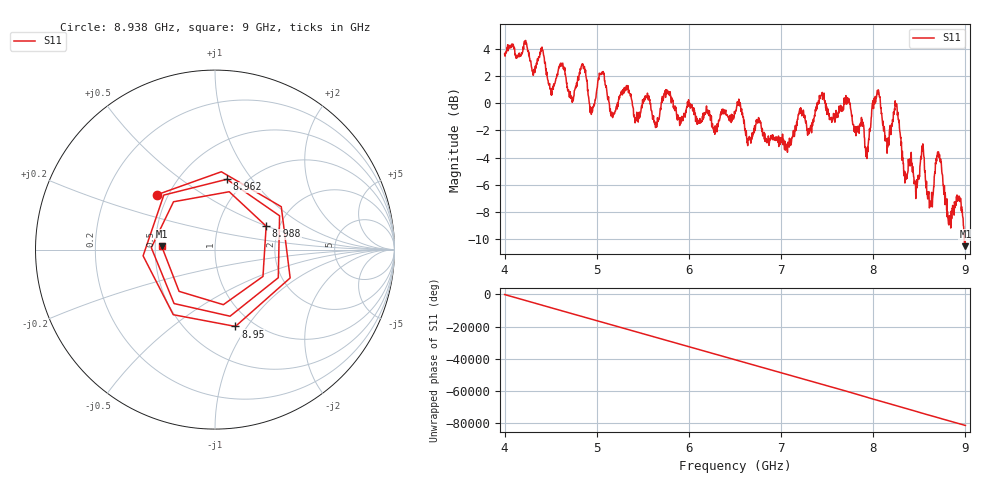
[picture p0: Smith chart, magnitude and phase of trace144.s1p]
! Created with skrf 1.8.0 (http://scikit-rf.org).
# Hz S RI R 50.0
!freq ReS11 ImS11
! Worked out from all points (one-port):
!   1601 points, 4 GHz to 9 GHz, reference 50 ohm
!   lowest |S11| = -10.5 dB at 9 GHz (marker M1), VSWR 1.85, Z = 27 + j1.17 ohm
!   |S11| at or under -10 dB: 8.98742 GHz to end of sweep
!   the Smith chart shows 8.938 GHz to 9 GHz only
!   S11 on the Smith chart (normalised r, x): 8.938 GHz: 0.44, +0.33; 8.95 GHz: 0.83, -0.88; 8.962 GHz: 0.82, +0.76; 8.988 GHz: 1.71, +0.50; 9 GHz: 0.54, +0.02
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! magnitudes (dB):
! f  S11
! 4 GHz  3.6
! 4.506 GHz  0.6
! 4.625 GHz  2.9
! 4.728 GHz  0.4
! 4.856 GHz  2.5
! 4.944 GHz  -0.7
! 5.053 GHz  2.3
! 5.166 GHz  -0.7
! 5.25 GHz  0.6
! 5.875 GHz  -1.2
! 6.5 GHz  -0.8
! 7.125 GHz  -2.4
! 7.441 GHz  0.6
! 7.75 GHz  0.0
! 7.928 GHz  -3.7
! 8.034 GHz  0.4
! 8.147 GHz  -2.7
! 8.244 GHz  -0.2
! 8.375 GHz  -5.1
! 8.538 GHz  -3.0
! 8.625 GHz  -7.3
! 8.709 GHz  -3.6
! 8.828 GHz  -8.8
! 8.938 GHz  -7.0
! 8.95 GHz  -7.1
! 8.962 GHz  -8.0
! 8.988 GHz  -10.1
! 9 GHz  -10.5
